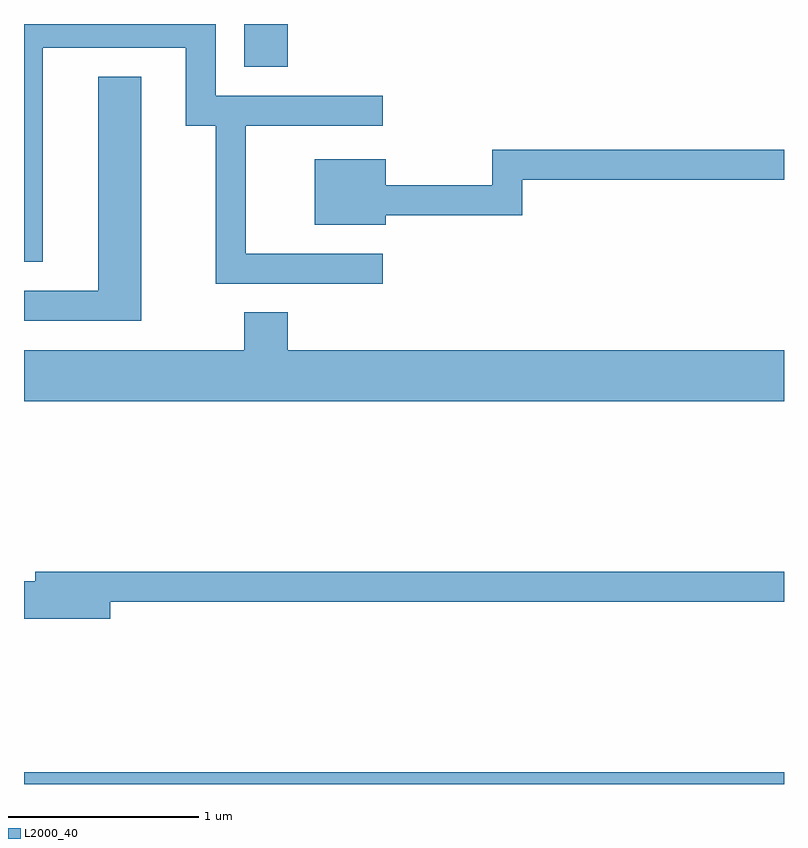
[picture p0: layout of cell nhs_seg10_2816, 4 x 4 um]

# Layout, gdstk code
import gdstk
lib = gdstk.Library(unit=1e-6, precision=1e-09)
def R(c, l, rs):  # rectangles x0, y0, x1, y1
    for r in rs: c.add(gdstk.rectangle(r[:2], r[2:], *l))
def P(c, l, *ps):  # polygons
    for p in ps: c.add(gdstk.Polygon(p, *l))
L2000_40 = (2000, 40)

nhs_seg10_2816 = lib.new_cell('nhs_seg10_2816')
R(nhs_seg10_2816, L2000_40, [(267.611,2158.522,271.611,2158.584), (268.771,2162.296,268.999,2162.522)])
P(nhs_seg10_2816, L2000_40, [(269.498,2161.314),(268.779,2161.314),(268.779,2161.986),(269.498,2161.986),(269.498,2162.144),(268.619,2162.144),(268.619,2162.522),(267.611,2162.522),(267.611,2161.271),(267.709,2161.271),(267.709,2162.396),(268.461,2162.396),(268.461,2161.986),(268.621,2161.986),(268.621,2161.156),(269.498,2161.156)],
  [(268.229,2162.244),(268.001,2162.244),(268.001,2161.119),(267.611,2161.119),(267.611,2160.961),(268.229,2160.961)],
  [(269.514,2161.516),(270.234,2161.516),(270.234,2161.701),(271.611,2161.701),(271.611,2161.859),(270.076,2161.859),(270.076,2161.674),(269.514,2161.674),(269.514,2161.809),(269.141,2161.809),(269.141,2161.466),(269.514,2161.466)],
  [(271.611,2160.804),(268.999,2160.804),(268.999,2161.004),(268.771,2161.004),(268.771,2160.804),(267.611,2160.804),(267.611,2160.536),(271.611,2160.536)],
  [(268.064,2159.481),(271.611,2159.481),(271.611,2159.639),(267.671,2159.639),(267.671,2159.589),(267.611,2159.589),(267.611,2159.391),(268.064,2159.391)])

lib.write_gds('nhs_seg10_2816.gds')
